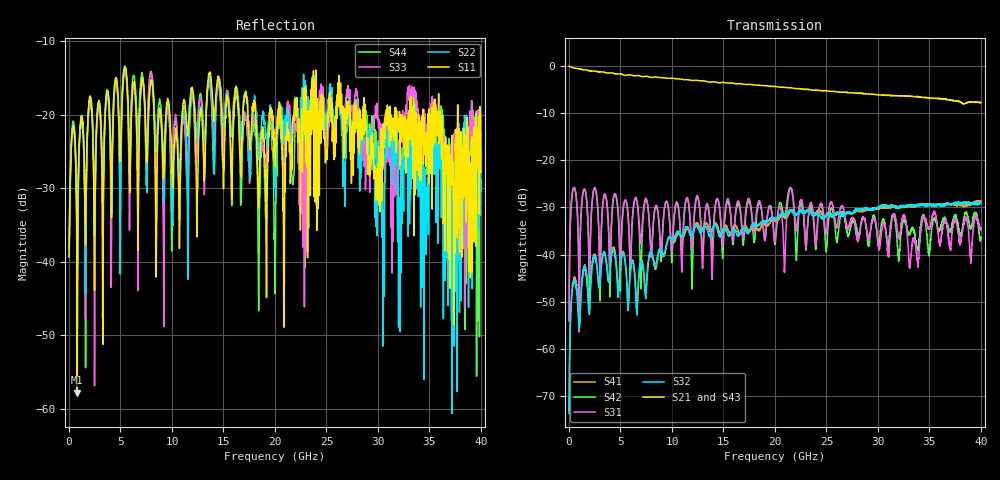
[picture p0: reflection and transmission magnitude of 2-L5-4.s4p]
! MS46524B
! 1918203/M1: 91020113/M2: 91020112
! 9/9/2020 2:28:19 PM
! C:\USERS\ANRITSUUSER\DESKTOP\2118 -5.S4P
! CHANNEL.1
! TR.MEASUREMENT
! CORRECTED.DATA
# GHZ S RI R 50.0
! FREQ.GHZ  S11RE  S11IM  S12RE  S12IM  S13RE  S13IM  S14RE  S14IM
!  S21RE  S21IM  S22RE  S22IM  S23RE  S23IM  S24RE  S24IM
!  S31RE  S31IM  S32RE  S32IM  S33RE  S33IM  S34RE  S34IM
!  S41RE  S41IM  S42RE  S42IM  S43RE  S43IM  S44RE  S44IM
!; PortSelection: Port_1234
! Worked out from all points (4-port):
!   4000 points, 10 MHz to 40 GHz, reference 50 ohm
!   strongest paths, dB at 10 MHz, 10.01 GHz, 20.01 GHz, 30.01 GHz, 40 GHz:
!     S21: -0.1, -2.7, -4.4, -6.2, -7.8
!     S43: -0.1, -2.7, -4.5, -6.5, -7.4
!     S32: -73.6, -36.9, -32.4, -30.1, -29.1
!     S31: -54.1, -38.8, -36.9, -38.1, -34.8
!     S42: -53.9, -40.9, -37.9, -37.3, -36.6
!     S41: -73.0, -37.1, -32.8, -30.1, -28.7
!   lowest |S11| = -57.8 dB at 800 MHz (marker M1), VSWR 1.00, Z = 50 - j0.119 ohm
!   |S11| at or under -10 dB: start of sweep to end of sweep
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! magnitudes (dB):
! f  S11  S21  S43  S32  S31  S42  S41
! 10 MHz  -39.3  -0.1  -0.1  -73.6  -54.1  -53.9  -73.0
! 800 MHz  -57.8  -0.6  -0.7  -49.1  -30.8  -30.7  -48.4
! 5.44 GHz  -13.6  -2.1  -2.2  -41.4  -28.5  -28.6  -41.1
! 9.2 GHz  -28.1  -2.6  -2.6  -40.4  -31.4  -31.7  -40.0
! 13.6 GHz  -14.4  -3.5  -3.5  -35.9  -30.8  -31.2  -34.6
! 18.43 GHz  -31.9  -4.1  -4.2  -33.6  -28.7  -29.2  -35.0
! 40 GHz  -27.7  -7.8  -7.4  -29.1  -34.8  -36.6  -28.7
